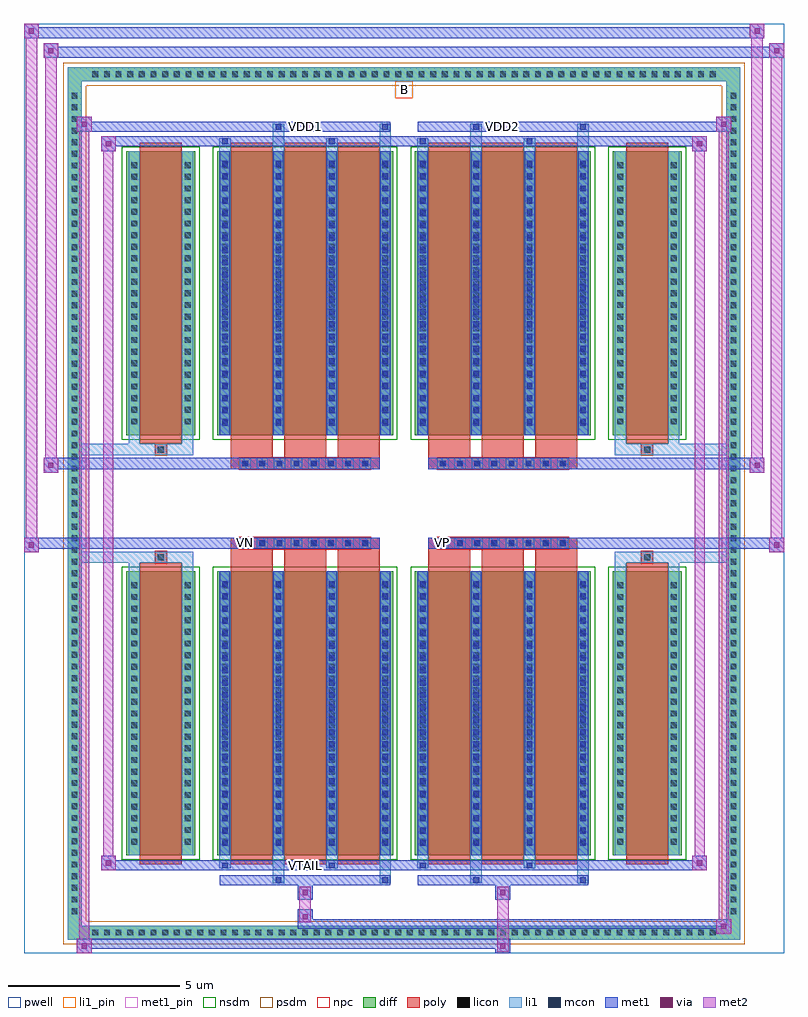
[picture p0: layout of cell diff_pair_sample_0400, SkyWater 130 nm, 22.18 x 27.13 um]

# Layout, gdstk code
import gdstk
lib = gdstk.Library(unit=1e-6, precision=5e-09)
def R(c, l, rs):  # rectangles x0, y0, x1, y1
    for r in rs: c.add(gdstk.rectangle(r[:2], r[2:], *l))
def A(c, l, x, y, w, h, nx, ny, dx, dy):  # array of equal rectangles
    R(c, l, [(x+i*dx, y+j*dy, x+i*dx+w, y+j*dy+h) for i in range(nx) for j in range(ny)])
def P(c, l, *ps):  # polygons
    for p in ps: c.add(gdstk.Polygon(p, *l))
pwell = (64, 44)
diff = (65, 20)
poly = (66, 20)
licon = (66, 44)
li1_pin = (67, 16)
li1 = (67, 20)
mcon = (67, 44)
met1_pin = (68, 16)
met1 = (68, 20)
via = (68, 44)
met2 = (69, 20)
nsdm = (93, 44)
psdm = (94, 20)
npc = (95, 20)

diff_pair_sample_0400 = lib.new_cell('diff_pair_sample_0400')
R(diff_pair_sample_0400, pwell, [(-11.09,-13.13,11.09,14), (-8.41,-11.32,-0.01,-0.8), (0.01,-11.32,8.41,-0.8), (-8.41,0.8,-0.01,11.32), (0.01,0.8,8.41,11.32)])
A(diff_pair_sample_0400, diff, -9.215, -12.73, 0.41, 0.41, 54, 2, 0.34, 25.05)
A(diff_pair_sample_0400, diff, -9.82, -12.105, 0.41, 0.41, 1, 71, 0, 0.34)
A(diff_pair_sample_0400, diff, 9.41, -12.105, 0.41, 0.41, 1, 71, 0, 0.34)
R(diff_pair_sample_0400, diff, [(-9.215,-12.73,9.215,-12.32), (-9.82,-12.105,-9.41,12.105), (9.41,-12.105,9.82,12.105), (-8.1,-10.275,-6.09,-1.985), (-5.45,-10.275,-0.32,-1.985), (0.32,-10.275,5.45,-1.985), (6.09,-10.275,8.1,-1.985), (-8.1,1.985,-6.09,10.275), (-5.45,1.985,-0.32,10.275), (0.32,1.985,5.45,10.275), (6.09,1.985,8.1,10.275), (-9.215,12.32,9.215,12.73)])
P(diff_pair_sample_0400, diff, [(9.82,12.73),(-9.82,12.73),(-9.82,-12.32),(-9.41,-12.32),(-9.41,12.32),(9.41,12.32),(9.41,-12.32),(-9.41,-12.32),(-9.82,-12.32),(-9.82,-12.73),(9.82,-12.73)])
A(diff_pair_sample_0400, poly, -5.06, -10.525, 1.23, 8.79, 3, 2, 1.56, 12.26)
A(diff_pair_sample_0400, poly, 0.71, -10.525, 1.23, 8.79, 3, 2, 1.56, 12.26)
A(diff_pair_sample_0400, poly, -5.06, -1.735, 1.23, 0.405, 3, 2, 1.56, 3.065)
A(diff_pair_sample_0400, poly, 0.71, -1.735, 1.23, 0.405, 3, 2, 1.56, 3.065)
A(diff_pair_sample_0400, poly, -4.8, -1.33, 0.33, 0.33, 8, 2, 0.5, 2.33)
A(diff_pair_sample_0400, poly, 0.97, -1.33, 0.33, 0.33, 8, 2, 0.5, 2.33)
R(diff_pair_sample_0400, poly, [(-7.71,-10.525,-6.48,-1.735), (6.48,-10.525,7.71,-1.735), (-7.26,-1.735,-6.93,-1.405), (-7.26,-1.735,-6.93,-1.405), (6.93,-1.735,7.26,-1.405), (6.93,-1.735,7.26,-1.405), (-5.06,-1.33,-0.71,-1), (0.71,-1.33,5.06,-1), (-5.06,1,-0.71,1.33), (0.71,1,5.06,1.33), (-7.26,1.405,-6.93,1.735), (-7.26,1.405,-6.93,1.735), (6.93,1.405,7.26,1.735), (6.93,1.405,7.26,1.735), (-7.71,1.735,-6.48,10.525), (6.48,1.735,7.71,10.525)])
A(diff_pair_sample_0400, licon, -9.095, -12.61, 0.17, 0.17, 54, 2, 0.34, 25.05)
A(diff_pair_sample_0400, licon, -9.7, -11.985, 0.17, 0.17, 1, 71, 0, 0.34)
A(diff_pair_sample_0400, licon, 9.53, -11.985, 0.17, 0.17, 1, 71, 0, 0.34)
A(diff_pair_sample_0400, licon, -7.96, -9.955, 0.17, 0.17, 1, 23, 0, 0.34)
A(diff_pair_sample_0400, licon, -6.4, -9.955, 0.17, 0.17, 1, 23, 0, 0.34)
A(diff_pair_sample_0400, licon, -5.31, -9.955, 0.17, 0.17, 4, 23, 1.56, 0.34)
A(diff_pair_sample_0400, licon, 0.46, -9.955, 0.17, 0.17, 4, 23, 1.56, 0.34)
A(diff_pair_sample_0400, licon, 6.23, -9.955, 0.17, 0.17, 1, 23, 0, 0.34)
A(diff_pair_sample_0400, licon, 7.79, -9.955, 0.17, 0.17, 1, 23, 0, 0.34)
A(diff_pair_sample_0400, licon, -4.72, -1.25, 0.17, 0.17, 8, 2, 0.5, 2.33)
A(diff_pair_sample_0400, licon, 1.05, -1.25, 0.17, 0.17, 8, 2, 0.5, 2.33)
A(diff_pair_sample_0400, licon, -7.96, 2.305, 0.17, 0.17, 1, 23, 0, 0.34)
A(diff_pair_sample_0400, licon, -6.4, 2.305, 0.17, 0.17, 1, 23, 0, 0.34)
A(diff_pair_sample_0400, licon, -5.31, 2.305, 0.17, 0.17, 4, 23, 1.56, 0.34)
A(diff_pair_sample_0400, licon, 0.46, 2.305, 0.17, 0.17, 4, 23, 1.56, 0.34)
A(diff_pair_sample_0400, licon, 6.23, 2.305, 0.17, 0.17, 1, 23, 0, 0.34)
A(diff_pair_sample_0400, licon, 7.79, 2.305, 0.17, 0.17, 1, 23, 0, 0.34)
R(diff_pair_sample_0400, licon, [(-7.18,-1.655,-7.01,-1.485), (7.01,-1.655,7.18,-1.485), (-7.18,1.485,-7.01,1.655), (7.01,1.485,7.18,1.655)])
R(diff_pair_sample_0400, li1_pin, [(-0.25,11.82,0.25,12.32)])
A(diff_pair_sample_0400, li1, -9.175, -12.69, 0.33, 0.33, 54, 2, 0.34, 25.05)
A(diff_pair_sample_0400, li1, -9.78, -12.065, 0.33, 0.33, 1, 71, 0, 0.34)
A(diff_pair_sample_0400, li1, 9.45, -12.065, 0.33, 0.33, 1, 71, 0, 0.34)
A(diff_pair_sample_0400, li1, -5.39, -10.275, 0.33, 8.29, 4, 2, 1.56, 12.26)
A(diff_pair_sample_0400, li1, 0.38, -10.275, 0.33, 8.29, 4, 2, 1.56, 12.26)
A(diff_pair_sample_0400, li1, -8.04, -10.035, 0.33, 0.33, 1, 23, 0, 0.34)
A(diff_pair_sample_0400, li1, -6.48, -10.035, 0.33, 0.33, 1, 23, 0, 0.34)
A(diff_pair_sample_0400, li1, -5.39, -10.035, 0.33, 0.33, 4, 23, 1.56, 0.34)
A(diff_pair_sample_0400, li1, 0.38, -10.035, 0.33, 0.33, 4, 23, 1.56, 0.34)
A(diff_pair_sample_0400, li1, 6.15, -10.035, 0.33, 0.33, 1, 23, 0, 0.34)
A(diff_pair_sample_0400, li1, 7.71, -10.035, 0.33, 0.33, 1, 23, 0, 0.34)
A(diff_pair_sample_0400, li1, -5.31, -9.995, 0.17, 0.17, 4, 22, 1.56, 0.36)
A(diff_pair_sample_0400, li1, -5.31, -9.995, 0.17, 7.73, 4, 2, 1.56, 12.26)
A(diff_pair_sample_0400, li1, 0.46, -9.995, 0.17, 0.17, 4, 22, 1.56, 0.36)
A(diff_pair_sample_0400, li1, 0.46, -9.995, 0.17, 7.73, 4, 2, 1.56, 12.26)
A(diff_pair_sample_0400, li1, -4.8, -1.33, 0.33, 0.33, 8, 2, 0.5, 2.33)
A(diff_pair_sample_0400, li1, 0.97, -1.33, 0.33, 0.33, 8, 2, 0.5, 2.33)
A(diff_pair_sample_0400, li1, -8.04, 2.225, 0.33, 0.33, 1, 23, 0, 0.34)
A(diff_pair_sample_0400, li1, -6.48, 2.225, 0.33, 0.33, 1, 23, 0, 0.34)
A(diff_pair_sample_0400, li1, -5.39, 2.225, 0.33, 0.33, 4, 23, 1.56, 0.34)
A(diff_pair_sample_0400, li1, 0.38, 2.225, 0.33, 0.33, 4, 23, 1.56, 0.34)
A(diff_pair_sample_0400, li1, 6.15, 2.225, 0.33, 0.33, 1, 23, 0, 0.34)
A(diff_pair_sample_0400, li1, 7.71, 2.225, 0.33, 0.33, 1, 23, 0, 0.34)
A(diff_pair_sample_0400, li1, -5.31, 2.265, 0.17, 0.17, 4, 22, 1.56, 0.36)
A(diff_pair_sample_0400, li1, 0.46, 2.265, 0.17, 0.17, 4, 22, 1.56, 0.36)
R(diff_pair_sample_0400, li1, [(-9.82,-12.73,-9.41,-12.32), (-9.82,-12.73,-9.41,-12.32), (-9.41,-12.73,9.41,-12.32), (9.41,-12.73,9.82,-12.32), (9.41,-12.73,9.82,-12.32), (-9.82,-12.32,-9.41,12.32), (9.41,-12.32,9.82,12.32), (-3.83,-11.08,-3.5,-10.275), (-3.75,-11.08,-3.58,-10.91), (-0.71,-11.08,-0.38,-10.275), (-0.63,-11.08,-0.46,-10.91), (1.94,-11.08,2.27,-10.275), (2.02,-11.08,2.19,-10.91), (5.06,-11.08,5.39,-10.275), (5.14,-11.08,5.31,-10.91), (-5.39,-10.65,-5.06,-10.275), (-5.31,-10.65,-5.14,-10.48), (-2.27,-10.65,-1.94,-10.275), (-2.19,-10.65,-2.02,-10.48), (0.38,-10.65,0.71,-10.275), (0.46,-10.65,0.63,-10.48), (3.5,-10.65,3.83,-10.275), (3.58,-10.65,3.75,-10.48), (-8.04,-10.275,-7.71,-1.985), (-6.48,-10.275,-6.15,-1.985), (6.15,-10.275,6.48,-1.985), (7.71,-10.275,8.04,-1.985), (-8.04,-1.985,-7.71,-1.405), (-6.48,-1.985,-6.15,-1.405), (6.15,-1.985,6.48,-1.405), (7.71,-1.985,8.04,-1.405), (-9.82,-1.735,-7.26,-1.405), (-8.04,-1.735,-7.26,-1.405), (-7.26,-1.735,-6.93,-1.405), (-6.93,-1.735,-6.15,-1.405), (6.15,-1.735,6.93,-1.405), (6.93,-1.735,7.26,-1.405), (6.93,-1.735,9.82,-1.405), (7.26,-1.735,8.04,-1.405), (-9.82,1.405,-7.26,1.735), (-8.04,1.405,-7.26,1.735), (-8.04,1.405,-7.71,1.985), (-7.26,1.405,-6.93,1.735), (-6.93,1.405,-6.15,1.735), (-6.48,1.405,-6.15,1.985), (6.15,1.405,6.93,1.735), (6.15,1.405,6.48,1.985), (6.93,1.405,7.26,1.735), (6.93,1.405,9.82,1.735), (7.26,1.405,8.04,1.735), (7.71,1.405,8.04,1.985), (-8.04,1.985,-7.71,10.275), (-6.48,1.985,-6.15,10.275), (6.15,1.985,6.48,10.275), (7.71,1.985,8.04,10.275), (-5.39,10.275,-5.06,10.65), (-3.83,10.275,-3.5,11.08), (-2.27,10.275,-1.94,10.65), (-0.71,10.275,-0.38,11.08), (0.38,10.275,0.71,10.65), (1.94,10.275,2.27,11.08), (3.5,10.275,3.83,10.65), (5.06,10.275,5.39,11.08), (-5.31,10.48,-5.14,10.65), (-2.19,10.48,-2.02,10.65), (0.46,10.48,0.63,10.65), (3.58,10.48,3.75,10.65), (-3.75,10.91,-3.58,11.08), (-0.63,10.91,-0.46,11.08), (2.02,10.91,2.19,11.08), (5.14,10.91,5.31,11.08), (-9.82,12.32,-9.41,12.73), (-9.82,12.32,-9.41,12.73), (-9.41,12.32,9.41,12.73), (9.41,12.32,9.82,12.73), (9.41,12.32,9.82,12.73)])
A(diff_pair_sample_0400, mcon, -5.31, -9.995, 0.17, 0.17, 4, 22, 1.56, 0.36)
A(diff_pair_sample_0400, mcon, 0.46, -9.995, 0.17, 0.17, 4, 22, 1.56, 0.36)
A(diff_pair_sample_0400, mcon, -4.72, -1.25, 0.17, 0.17, 8, 2, 0.5, 2.33)
A(diff_pair_sample_0400, mcon, 1.05, -1.25, 0.17, 0.17, 8, 2, 0.5, 2.33)
A(diff_pair_sample_0400, mcon, -5.31, 2.265, 0.17, 0.17, 4, 22, 1.56, 0.36)
A(diff_pair_sample_0400, mcon, 0.46, 2.265, 0.17, 0.17, 4, 22, 1.56, 0.36)
R(diff_pair_sample_0400, mcon, [(-3.75,-11.08,-3.58,-10.91), (-0.63,-11.08,-0.46,-10.91), (2.02,-11.08,2.19,-10.91), (5.14,-11.08,5.31,-10.91), (-5.31,-10.65,-5.14,-10.48), (-2.19,-10.65,-2.02,-10.48), (0.46,-10.65,0.63,-10.48), (3.58,-10.65,3.75,-10.48), (-5.31,10.48,-5.14,10.65), (-2.19,10.48,-2.02,10.65), (0.46,10.48,0.63,10.65), (3.58,10.48,3.75,10.65), (-3.75,10.91,-3.58,11.08), (-0.63,10.91,-0.46,11.08), (2.02,10.91,2.19,11.08), (5.14,10.91,5.31,11.08)])
R(diff_pair_sample_0400, met1_pin, [(-3.02,-10.69,-2.75,-10.42), (-4.77,-1.29,-4.5,-1.02), (1,-1.29,1.27,-1.02), (-3.02,10.87,-2.75,11.14), (2.75,10.87,3.02,11.14)])
A(diff_pair_sample_0400, met1, -5.37, -10.275, 0.29, 8.29, 4, 2, 1.56, 12.26)
A(diff_pair_sample_0400, met1, 0.4, -10.275, 0.29, 8.29, 4, 2, 1.56, 12.26)
A(diff_pair_sample_0400, met1, -5.37, -10.055, 0.29, 0.29, 4, 22, 1.56, 0.36)
A(diff_pair_sample_0400, met1, 0.4, -10.055, 0.29, 0.29, 4, 22, 1.56, 0.36)
A(diff_pair_sample_0400, met1, -4.78, -1.31, 0.29, 0.29, 8, 2, 0.5, 2.33)
A(diff_pair_sample_0400, met1, 0.99, -1.31, 0.29, 0.29, 8, 2, 0.5, 2.33)
A(diff_pair_sample_0400, met1, -5.37, 2.205, 0.29, 0.29, 4, 22, 1.56, 0.36)
A(diff_pair_sample_0400, met1, 0.4, 2.205, 0.29, 0.29, 4, 22, 1.56, 0.36)
R(diff_pair_sample_0400, met1, [(-9.55,-13.13,-9.12,-12.7), (2.67,-13.13,3.1,-12.7), (-9.55,-12.99,3.1,-12.7), (9.12,-12.56,9.55,-12.13), (-3.1,-12.42,9.55,-12.13), (-3.1,-12.28,-2.67,-11.85), (-3.1,-11.57,-2.67,-11.14), (2.67,-11.57,3.1,-11.14), (-5.37,-11.14,-0.4,-10.85), (-3.81,-11.14,-3.52,-10.85), (-0.69,-11.14,-0.4,-10.85), (0.4,-11.14,5.37,-10.85), (1.96,-11.14,2.25,-10.85), (5.08,-11.14,5.37,-10.85), (-8.84,-10.71,-8.41,-10.28), (-8.84,-10.71,-5.37,-10.42), (-5.37,-10.71,-5.08,-10.42), (-5.37,-10.71,-0.4,-10.42), (-2.25,-10.71,-1.96,-10.42), (-0.4,-10.71,0.4,-10.42), (0.4,-10.71,0.69,-10.42), (0.4,-10.71,5.37,-10.42), (3.52,-10.71,3.81,-10.42), (5.37,-10.71,8.84,-10.42), (8.41,-10.71,8.84,-10.28), (-11.09,-1.43,-10.66,-1), (10.66,-1.43,11.09,-1), (-11.09,-1.33,-0.71,-1), (-5.06,-1.33,-0.71,-1), (0.71,-1.33,5.06,-1), (0.71,-1.33,11.09,-1), (-10.52,0.9,-10.09,1.33), (10.09,0.9,10.52,1.33), (-10.52,1,-5.06,1.33), (-5.06,1,-0.71,1.33), (0.71,1,5.06,1.33), (5.06,1,10.52,1.33), (-8.84,10.28,-8.41,10.71), (8.41,10.28,8.84,10.71), (-8.84,10.42,-5.37,10.71), (-5.37,10.42,-5.08,10.71), (-5.37,10.42,-0.4,10.71), (-2.25,10.42,-1.96,10.71), (-0.4,10.42,0.4,10.71), (0.4,10.42,0.69,10.71), (0.4,10.42,5.37,10.71), (3.52,10.42,3.81,10.71), (5.37,10.42,8.84,10.71), (-9.55,10.85,-9.12,11.28), (-9.55,10.85,-5.37,11.14), (-5.37,10.85,-0.4,11.14), (-3.81,10.85,-3.52,11.14), (-0.69,10.85,-0.4,11.14), (0.4,10.85,5.37,11.14), (1.96,10.85,2.25,11.14), (5.08,10.85,5.37,11.14), (5.37,10.85,9.55,11.14), (9.12,10.85,9.55,11.28), (-10.52,13,-10.09,13.43), (-10.52,13,-8.41,13.33), (-8.41,13,8.41,13.33), (8.41,13,11.09,13.33), (10.66,13,11.09,13.43), (-11.09,13.57,-10.66,14), (-11.09,13.57,-8.41,13.9), (-8.41,13.57,8.41,13.9), (8.41,13.57,10.52,13.9), (10.09,13.57,10.52,14)])
R(diff_pair_sample_0400, via, [(-9.41,-12.99,-9.26,-12.84), (2.81,-12.99,2.96,-12.84), (9.26,-12.42,9.41,-12.27), (-2.96,-12.14,-2.81,-11.99), (-2.96,-11.43,-2.81,-11.28), (2.81,-11.43,2.96,-11.28), (-8.7,-10.57,-8.55,-10.42), (8.55,-10.57,8.7,-10.42), (-10.95,-1.29,-10.8,-1.14), (10.8,-1.29,10.95,-1.14), (-10.38,1.04,-10.23,1.19), (10.23,1.04,10.38,1.19), (-8.7,10.42,-8.55,10.57), (8.55,10.42,8.7,10.57), (-9.41,10.99,-9.26,11.14), (9.26,10.99,9.41,11.14), (-10.38,13.14,-10.23,13.29), (10.8,13.14,10.95,13.29), (-10.95,13.71,-10.8,13.86), (10.23,13.71,10.38,13.86)])
R(diff_pair_sample_0400, met2, [(-9.55,-13.13,-9.12,-12.7), (-9.48,-13.13,-9.19,11.28), (-9.19,-13.13,-9.12,-12.7), (-9.5,-13.08,-9.17,-12.75), (2.72,-13.08,3.05,-12.75), (2.72,-12.75,3.05,-11.52), (9.12,-12.56,9.55,-12.13), (9.19,-12.56,9.48,11.28), (9.48,-12.56,9.55,-12.13), (9.17,-12.51,9.5,-12.18), (-3.05,-12.23,-2.72,-11.9), (-3.05,-11.9,-2.72,-11.52), (-3.05,-11.52,-2.72,-11.19), (2.72,-11.52,3.05,-11.19), (-8.84,-10.71,-8.41,-10.28), (-8.77,-10.71,-8.48,10.71), (-8.48,-10.71,-8.41,-10.28), (8.41,-10.71,8.84,-10.28), (8.48,-10.71,8.77,10.71), (8.77,-10.71,8.84,-10.28), (-8.79,-10.66,-8.46,-10.33), (8.46,-10.66,8.79,-10.33), (-11.09,-1.43,-10.66,-1), (-11.04,-1.43,-10.71,14), (-10.71,-1.43,-10.66,-1), (10.66,-1.43,11.09,-1), (10.71,-1.43,11.04,13.43), (11.04,-1.43,11.09,-1), (-11.04,-1.38,-10.71,-1.05), (10.71,-1.38,11.04,-1.05), (-10.52,0.9,-10.09,1.33), (-10.47,0.9,-10.14,13.43), (-10.14,0.9,-10.09,1.33), (10.09,0.9,10.52,1.33), (10.14,0.9,10.47,14), (10.47,0.9,10.52,1.33), (-10.47,0.95,-10.14,1.28), (10.14,0.95,10.47,1.28), (-8.84,10.28,-8.41,10.71), (-8.48,10.28,-8.41,10.71), (8.41,10.28,8.84,10.71), (8.77,10.28,8.84,10.71), (-8.79,10.33,-8.46,10.66), (8.46,10.33,8.79,10.66), (-9.55,10.85,-9.12,11.28), (-9.19,10.85,-9.12,11.28), (9.12,10.85,9.55,11.28), (9.48,10.85,9.55,11.28), (-9.5,10.9,-9.17,11.23), (9.17,10.9,9.5,11.23), (-10.52,13,-10.09,13.43), (-10.14,13,-10.09,13.43), (10.66,13,11.09,13.43), (11.04,13,11.09,13.43), (-10.47,13.05,-10.14,13.38), (10.71,13.05,11.04,13.38), (-11.09,13.57,-10.66,14), (-10.71,13.57,-10.66,14), (10.09,13.57,10.52,14), (10.47,13.57,10.52,14), (-11.04,13.62,-10.71,13.95), (10.14,13.62,10.47,13.95)])
R(diff_pair_sample_0400, nsdm, [(-8.23,-10.405,-5.96,-1.855), (-5.58,-10.405,-0.19,-1.855), (0.19,-10.405,5.58,-1.855), (5.96,-10.405,8.23,-1.855), (-8.23,1.855,-5.96,10.405), (-5.58,1.855,-0.19,10.405), (0.19,1.855,5.58,10.405), (5.96,1.855,8.23,10.405)])
P(diff_pair_sample_0400, psdm, [(9.95,12.86),(-9.95,12.86),(-9.95,-12.19),(-9.28,-12.19),(-9.28,12.19),(9.28,12.19),(9.28,-12.19),(-9.28,-12.19),(-9.95,-12.19),(-9.95,-12.86),(9.95,-12.86)])
A(diff_pair_sample_0400, npc, -4.82, -1.35, 0.37, 0.37, 8, 2, 0.5, 2.33)
A(diff_pair_sample_0400, npc, 0.95, -1.35, 0.37, 0.37, 8, 2, 0.5, 2.33)
R(diff_pair_sample_0400, npc, [(-7.28,-1.755,-6.91,-1.385), (6.91,-1.755,7.28,-1.385), (-4.82,-1.35,-3.95,-0.98), (-4.82,-1.35,-3.95,-0.98), (-4.32,-1.35,-3.45,-0.98), (-4.32,-1.35,-3.45,-0.98), (-3.82,-1.35,-2.95,-0.98), (-3.82,-1.35,-2.95,-0.98), (-3.32,-1.35,-2.45,-0.98), (-3.32,-1.35,-2.45,-0.98), (-2.82,-1.35,-1.95,-0.98), (-2.82,-1.35,-1.95,-0.98), (-2.32,-1.35,-1.45,-0.98), (-2.32,-1.35,-1.45,-0.98), (-1.82,-1.35,-0.95,-0.98), (-1.82,-1.35,-0.95,-0.98), (0.95,-1.35,1.82,-0.98), (0.95,-1.35,1.82,-0.98), (1.45,-1.35,2.32,-0.98), (1.45,-1.35,2.32,-0.98), (1.95,-1.35,2.82,-0.98), (1.95,-1.35,2.82,-0.98), (2.45,-1.35,3.32,-0.98), (2.45,-1.35,3.32,-0.98), (2.95,-1.35,3.82,-0.98), (2.95,-1.35,3.82,-0.98), (3.45,-1.35,4.32,-0.98), (3.45,-1.35,4.32,-0.98), (3.95,-1.35,4.82,-0.98), (3.95,-1.35,4.82,-0.98), (-4.82,0.98,-3.95,1.35), (-4.82,0.98,-3.95,1.35), (-4.32,0.98,-3.45,1.35), (-4.32,0.98,-3.45,1.35), (-3.82,0.98,-2.95,1.35), (-3.82,0.98,-2.95,1.35), (-3.32,0.98,-2.45,1.35), (-3.32,0.98,-2.45,1.35), (-2.82,0.98,-1.95,1.35), (-2.82,0.98,-1.95,1.35), (-2.32,0.98,-1.45,1.35), (-2.32,0.98,-1.45,1.35), (-1.82,0.98,-0.95,1.35), (-1.82,0.98,-0.95,1.35), (0.95,0.98,1.82,1.35), (0.95,0.98,1.82,1.35), (1.45,0.98,2.32,1.35), (1.45,0.98,2.32,1.35), (1.95,0.98,2.82,1.35), (1.95,0.98,2.82,1.35), (2.45,0.98,3.32,1.35), (2.45,0.98,3.32,1.35), (2.95,0.98,3.82,1.35), (2.95,0.98,3.82,1.35), (3.45,0.98,4.32,1.35), (3.45,0.98,4.32,1.35), (3.95,0.98,4.82,1.35), (3.95,0.98,4.82,1.35), (-7.28,1.385,-6.91,1.755), (6.91,1.385,7.28,1.755)])
diff_pair_sample_0400.add(gdstk.Label('VTAIL', (-2.885,-10.555), layer=68, texttype=5))
diff_pair_sample_0400.add(gdstk.Label('VN', (-4.635,-1.155), layer=68, texttype=5))
diff_pair_sample_0400.add(gdstk.Label('VP', (1.135,-1.155), layer=68, texttype=5))
diff_pair_sample_0400.add(gdstk.Label('B', (0,12.07), layer=67, texttype=5))
diff_pair_sample_0400.add(gdstk.Label('VDD2', (2.885,11.005), layer=68, texttype=5))
diff_pair_sample_0400.add(gdstk.Label('VDD1', (-2.885,11.005), layer=68, texttype=5))

lib.write_gds('diff_pair_sample_0400.gds')
